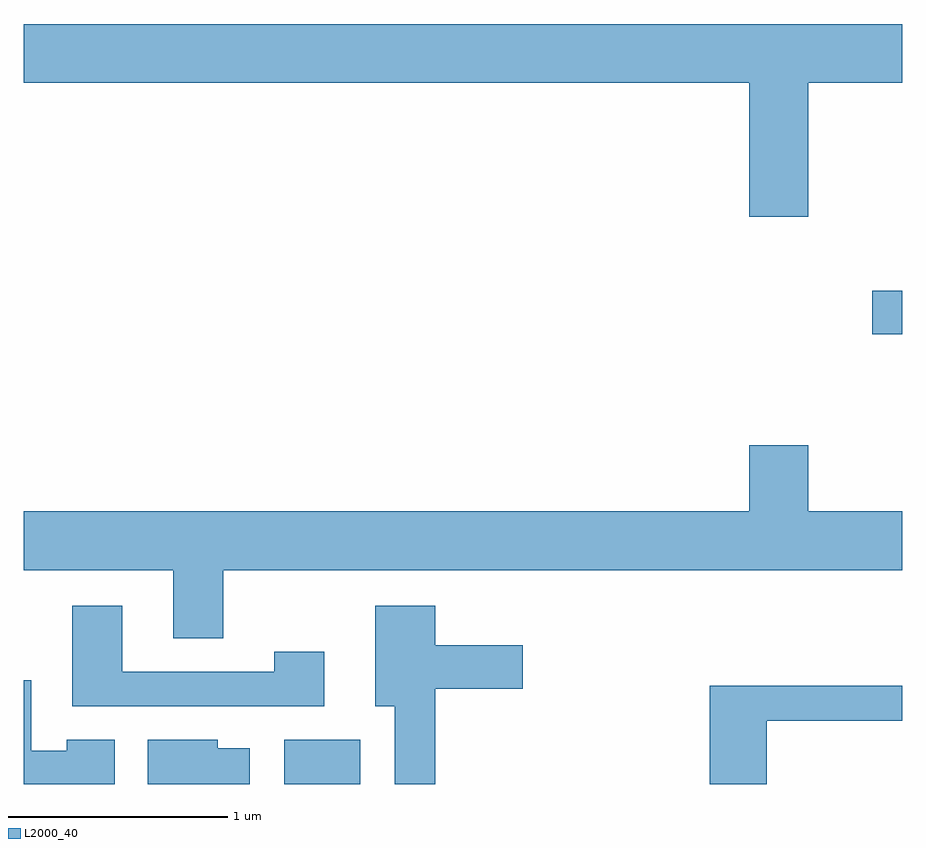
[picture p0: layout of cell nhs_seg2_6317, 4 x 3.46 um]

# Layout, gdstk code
import gdstk
lib = gdstk.Library(unit=1e-6, precision=1e-09)
def R(c, l, rs):  # rectangles x0, y0, x1, y1
    for r in rs: c.add(gdstk.rectangle(r[:2], r[2:], *l))
def P(c, l, *ps):  # polygons
    for p in ps: c.add(gdstk.Polygon(p, *l))
L2000_40 = (2000, 40)

nhs_seg2_6317 = lib.new_cell('nhs_seg2_6317')
R(nhs_seg2_6317, L2000_40, [(372.796,1031.802,373.144,1032.004), (375.476,1033.851,375.611,1034.049)])
P(nhs_seg2_6317, L2000_40, [(375.184,1034.996),(375.611,1034.996),(375.611,1035.264),(371.611,1035.264),(371.611,1034.996),(374.916,1034.996),(374.916,1034.386),(375.184,1034.386)],
  [(372.519,1032.776),(375.611,1032.776),(375.611,1033.044),(375.184,1033.044),(375.184,1033.344),(374.916,1033.344),(374.916,1033.044),(371.611,1033.044),(371.611,1032.776),(372.291,1032.776),(372.291,1032.466),(372.519,1032.466)],
  [(372.979,1032.404),(372.751,1032.404),(372.751,1032.314),(372.059,1032.314),(372.059,1032.614),(371.831,1032.614),(371.831,1032.156),(372.979,1032.156)],
  [(373.484,1032.236),(373.884,1032.236),(373.884,1032.434),(373.484,1032.434),(373.484,1032.614),(373.211,1032.614),(373.211,1032.156),(373.301,1032.156),(373.301,1031.802),(373.484,1031.802)],
  [(372.024,1032.004),(371.806,1032.004),(371.806,1031.954),(371.644,1031.954),(371.644,1032.274),(371.611,1032.274),(371.611,1031.802),(372.024,1031.802)],
  [(374.994,1032.091),(375.611,1032.091),(375.611,1032.249),(374.736,1032.249),(374.736,1031.802),(374.994,1031.802)],
  [(372.639,1031.964),(372.494,1031.964),(372.494,1032.004),(372.176,1032.004),(372.176,1031.802),(372.639,1031.802)])

lib.write_gds('nhs_seg2_6317.gds')
